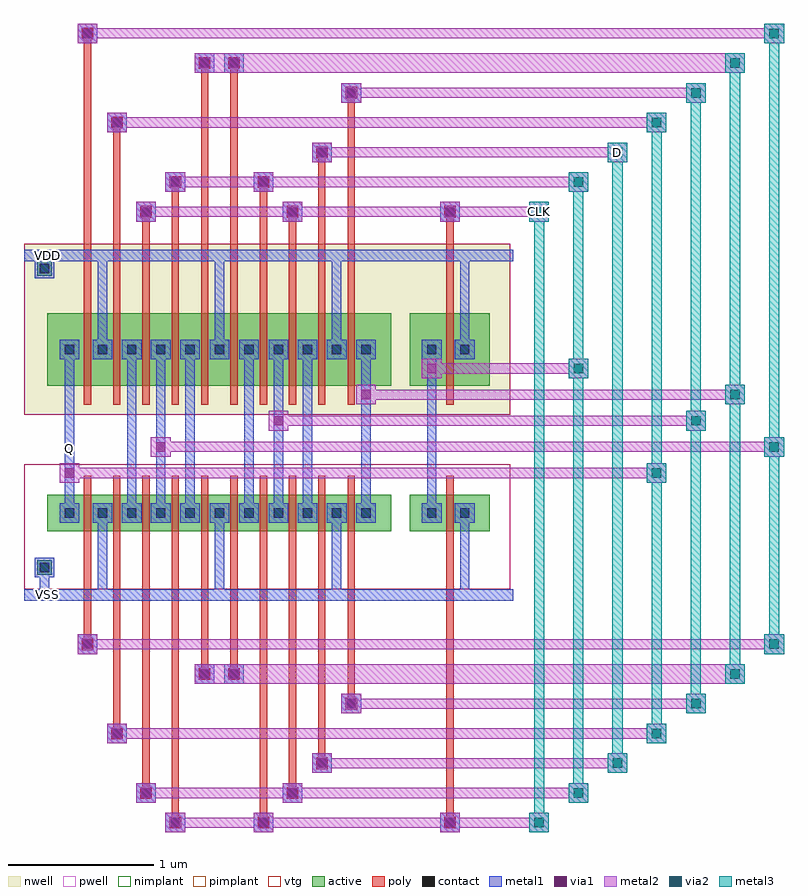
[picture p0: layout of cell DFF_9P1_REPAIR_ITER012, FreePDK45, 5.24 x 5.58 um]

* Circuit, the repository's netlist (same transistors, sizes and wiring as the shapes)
* cell DFF_9P1_REPAIR_ITER012
* pin CLK
* pin D
* pin Q
* pin VDD
* pin VSS
.SUBCKT DFF_9P1_REPAIR_ITER012 1 3 4 12 13
* net 1 CLK
* net 3 D
* net 4 Q
* net 12 VDD
* net 13 VSS
* device instance $1 r0 *1 0.4375,1.73 PMOS_VTG
M$1 12 7 4 12 PMOS_VTG L=0.05U W=0.5U AS=0.12625P AD=0.038125P PS=1.505U
+ PD=0.6525U
* device instance $2 r0 *1 0.64,1.73 PMOS_VTG
M$2 8 4 12 12 PMOS_VTG L=0.05U W=0.5U AS=0.038125P AD=0.0375P PS=0.6525U
+ PD=0.65U
* device instance $3 r0 *1 0.84,1.73 PMOS_VTG
M$3 7 1 8 12 PMOS_VTG L=0.05U W=0.5U AS=0.0375P AD=0.038125P PS=0.65U PD=0.6525U
* device instance $4 r0 *1 1.0425,1.73 PMOS_VTG
M$4 9 2 7 12 PMOS_VTG L=0.05U W=0.5U AS=0.038125P AD=0.038125P PS=0.6525U
+ PD=0.6525U
* device instance $5 r0 *1 1.245,1.73 PMOS_VTG
M$5 12 6 9 12 PMOS_VTG L=0.05U W=0.5U AS=0.038125P AD=0.038125P PS=0.6525U
+ PD=0.6525U
* device instance $6 r0 *1 1.4475,1.73 PMOS_VTG
M$6 10 6 12 12 PMOS_VTG L=0.05U W=0.5U AS=0.038125P AD=0.038125P PS=0.6525U
+ PD=0.6525U
* device instance $7 r0 *1 1.65,1.73 PMOS_VTG
M$7 5 2 10 12 PMOS_VTG L=0.05U W=0.5U AS=0.038125P AD=0.0375P PS=0.6525U
+ PD=0.65U
* device instance $8 r0 *1 1.85,1.73 PMOS_VTG
M$8 11 1 5 12 PMOS_VTG L=0.05U W=0.5U AS=0.0375P AD=0.038125P PS=0.65U
+ PD=0.6525U
* device instance $9 r0 *1 2.0525,1.73 PMOS_VTG
M$9 12 3 11 12 PMOS_VTG L=0.05U W=0.5U AS=0.038125P AD=0.038125P PS=0.6525U
+ PD=0.6525U
* device instance $10 r0 *1 2.255,1.73 PMOS_VTG
M$10 6 5 12 12 PMOS_VTG L=0.05U W=0.5U AS=0.038125P AD=0.12625P PS=0.6525U
+ PD=1.505U
* device instance $11 r0 *1 2.935,1.73 PMOS_VTG
M$11 12 1 2 12 PMOS_VTG L=0.05U W=0.5U AS=0.12625P AD=0.125P PS=1.505U PD=1.5U
* device instance $12 r0 *1 2.935,0.605 NMOS_VTG
M$12 13 1 2 13 NMOS_VTG L=0.05U W=0.25U AS=0.063125P AD=0.0625P PS=1.005U PD=1U
* device instance $13 r0 *1 0.4375,0.605 NMOS_VTG
M$13 13 7 4 13 NMOS_VTG L=0.05U W=0.25U AS=0.063125P AD=0.0190625P PS=1.005U
+ PD=0.4025U
* device instance $14 r0 *1 0.64,0.605 NMOS_VTG
M$14 8 4 13 13 NMOS_VTG L=0.05U W=0.25U AS=0.0190625P AD=0.01875P PS=0.4025U
+ PD=0.4U
* device instance $15 r0 *1 0.84,0.605 NMOS_VTG
M$15 7 2 8 13 NMOS_VTG L=0.05U W=0.25U AS=0.01875P AD=0.0190625P PS=0.4U
+ PD=0.4025U
* device instance $16 r0 *1 1.0425,0.605 NMOS_VTG
M$16 9 1 7 13 NMOS_VTG L=0.05U W=0.25U AS=0.0190625P AD=0.0190625P PS=0.4025U
+ PD=0.4025U
* device instance $17 r0 *1 1.245,0.605 NMOS_VTG
M$17 13 6 9 13 NMOS_VTG L=0.05U W=0.25U AS=0.0190625P AD=0.0190625P PS=0.4025U
+ PD=0.4025U
* device instance $18 r0 *1 1.4475,0.605 NMOS_VTG
M$18 10 6 13 13 NMOS_VTG L=0.05U W=0.25U AS=0.0190625P AD=0.0190625P PS=0.4025U
+ PD=0.4025U
* device instance $19 r0 *1 1.65,0.605 NMOS_VTG
M$19 5 1 10 13 NMOS_VTG L=0.05U W=0.25U AS=0.0190625P AD=0.01875P PS=0.4025U
+ PD=0.4U
* device instance $20 r0 *1 1.85,0.605 NMOS_VTG
M$20 11 2 5 13 NMOS_VTG L=0.05U W=0.25U AS=0.01875P AD=0.0190625P PS=0.4U
+ PD=0.4025U
* device instance $21 r0 *1 2.0525,0.605 NMOS_VTG
M$21 13 3 11 13 NMOS_VTG L=0.05U W=0.25U AS=0.0190625P AD=0.0190625P PS=0.4025U
+ PD=0.4025U
* device instance $22 r0 *1 2.255,0.605 NMOS_VTG
M$22 6 5 13 13 NMOS_VTG L=0.05U W=0.25U AS=0.0190625P AD=0.063125P PS=0.4025U
+ PD=1.005U
.ENDS DFF_9P1_REPAIR_ITER012

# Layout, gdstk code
import gdstk
lib = gdstk.Library(unit=1e-6, precision=2.5e-09)
def R(c, l, rs):  # rectangles x0, y0, x1, y1
    for r in rs: c.add(gdstk.rectangle(r[:2], r[2:], *l))
def A(c, l, x, y, w, h, nx, ny, dx, dy):  # array of equal rectangles
    R(c, l, [(x+i*dx, y+j*dy, x+i*dx+w, y+j*dy+h) for i in range(nx) for j in range(ny)])
active = (1, 0)
pwell = (2, 0)
nwell = (3, 0)
nimplant = (4, 0)
pimplant = (5, 0)
vtg = (6, 0)
poly = (9, 0)
contact = (10, 0)
metal1 = (11, 0)
via1 = (12, 0)
metal2 = (13, 0)
via2 = (14, 0)
metal3 = (15, 0)

dff_9p1_repair_iter012 = lib.new_cell('DFF_9P1_REPAIR_ITER012')
R(dff_9p1_repair_iter012, active, [(0.09,0.18,0.19,0.28), (0.16,0.48,2.5325,0.73), (2.6575,0.48,3.21,0.73), (0.16,1.48,2.5325,1.98), (2.6575,1.48,3.21,1.98), (0.09,2.24,0.19,2.34)])
R(dff_9p1_repair_iter012, pwell, [(0,0.08,3.35,0.94), (0.02,0.24,3.35,0.94)])
R(dff_9p1_repair_iter012, nwell, [(0,1.28,3.35,2.46), (0.02,1.28,3.35,2.2)])
R(dff_9p1_repair_iter012, nimplant, [(0.16,0.48,2.5325,0.73), (2.6575,0.48,3.21,0.73), (0.09,2.24,0.19,2.34)])
R(dff_9p1_repair_iter012, pimplant, [(0.09,0.18,0.19,0.28), (0.16,1.48,2.5325,1.98), (2.6575,1.48,3.21,1.98)])
R(dff_9p1_repair_iter012, vtg, [(0,0.08,3.35,0.94), (0.02,0.24,3.35,0.94), (0,1.28,3.35,2.46), (0.02,1.28,3.35,2.2)])
A(dff_9p1_repair_iter012, poly, 0.815, 0.35, 0.05, 0.51, 5, 1, 0.2025, 0)
A(dff_9p1_repair_iter012, poly, 1.825, 0.35, 0.05, 0.51, 3, 1, 0.2025, 0)
A(dff_9p1_repair_iter012, poly, 0.815, 1.35, 0.05, 0.76, 5, 1, 0.2025, 0)
A(dff_9p1_repair_iter012, poly, 1.825, 1.35, 0.05, 0.76, 3, 1, 0.2025, 0)
R(dff_9p1_repair_iter012, poly, [(1.0025,-1.57,1.0825,-1.49), (1.0175,-1.57,1.0675,0.35), (1.61,-1.57,1.69,-1.49), (1.625,-1.57,1.675,0.35), (2.895,-1.57,2.975,-1.49), (2.91,-1.57,2.96,0.35), (0.8,-1.365,0.88,-1.285), (0.815,-1.365,0.865,0.35), (1.81,-1.365,1.89,-1.285), (1.825,-1.365,1.875,0.35), (2.0125,-1.16,2.0925,-1.08), (2.0275,-1.16,2.0775,0.35), (0.6,-0.955,0.68,-0.875), (0.615,-0.955,0.665,0.35), (2.215,-0.75,2.295,-0.67), (2.23,-0.75,2.28,0.35), (1.205,-0.545,1.285,-0.465), (1.22,-0.545,1.27,0.35), (1.4075,-0.545,1.4875,-0.465), (1.4225,-0.545,1.4725,0.35), (0.3975,-0.34,0.4775,-0.26), (0.4125,-0.34,0.4625,0.35), (0.4125,0.35,0.4625,0.86), (0.615,0.35,0.665,0.86), (2.91,0.35,2.96,0.86), (0.4125,1.35,0.4625,2.11), (0.615,1.35,0.665,2.11), (2.91,1.35,2.96,2.11), (0.4125,2.11,0.4625,3.95), (0.615,2.11,0.665,3.335), (0.815,2.11,0.865,2.72), (1.0175,2.11,1.0675,2.925), (1.22,2.11,1.27,3.745), (1.4225,2.11,1.4725,3.745), (1.625,2.11,1.675,2.925), (1.825,2.11,1.875,2.72), (2.0275,2.11,2.0775,3.13), (2.23,2.11,2.28,3.54), (2.91,2.11,2.96,2.72), (0.8,2.64,0.88,2.72), (1.81,2.64,1.89,2.72), (2.895,2.64,2.975,2.72), (1.0025,2.845,1.0825,2.925), (1.61,2.845,1.69,2.925), (2.0125,3.05,2.0925,3.13), (0.6,3.255,0.68,3.335), (2.215,3.46,2.295,3.54), (1.205,3.665,1.285,3.745), (1.4075,3.665,1.4875,3.745), (0.3975,3.87,0.4775,3.95)])
A(dff_9p1_repair_iter012, contact, 0.91, 0.5725, 0.065, 0.065, 5, 2, 0.2025, 1.125)
A(dff_9p1_repair_iter012, contact, 1.92, 0.5725, 0.065, 0.065, 3, 2, 0.2025, 1.125)
R(dff_9p1_repair_iter012, contact, [(1.01,-1.5625,1.075,-1.4975), (1.6175,-1.5625,1.6825,-1.4975), (2.9025,-1.5625,2.9675,-1.4975), (0.8075,-1.3575,0.8725,-1.2925), (1.8175,-1.3575,1.8825,-1.2925), (2.02,-1.1525,2.085,-1.0875), (0.6075,-0.9475,0.6725,-0.8825), (2.2225,-0.7425,2.2875,-0.6775), (1.2125,-0.5375,1.2775,-0.4725), (1.415,-0.5375,1.48,-0.4725), (0.405,-0.3325,0.47,-0.2675), (0.1075,0.1975,0.1725,0.2625), (0.28,0.5725,0.345,0.6375), (0.5075,0.5725,0.5725,0.6375), (0.71,0.5725,0.775,0.6375), (2.7775,0.5725,2.8425,0.6375), (3.005,0.5725,3.07,0.6375), (0.28,1.6975,0.345,1.7625), (0.5075,1.6975,0.5725,1.7625), (0.71,1.6975,0.775,1.7625), (2.7775,1.6975,2.8425,1.7625), (3.005,1.6975,3.07,1.7625), (0.1075,2.2575,0.1725,2.3225), (0.8075,2.6475,0.8725,2.7125), (1.8175,2.6475,1.8825,2.7125), (2.9025,2.6475,2.9675,2.7125), (1.01,2.8525,1.075,2.9175), (1.6175,2.8525,1.6825,2.9175), (2.02,3.0575,2.085,3.1225), (0.6075,3.2625,0.6725,3.3275), (2.2225,3.4675,2.2875,3.5325), (1.2125,3.6725,1.2775,3.7375), (1.415,3.6725,1.48,3.7375), (0.405,3.8775,0.47,3.9425)])
A(dff_9p1_repair_iter012, metal1, 0.5075, 0.04, 0.065, 0.565, 3, 1, 0.8075, 0)
A(dff_9p1_repair_iter012, metal1, 0.875, 0.5375, 0.135, 0.135, 5, 2, 0.2025, 1.125)
A(dff_9p1_repair_iter012, metal1, 1.885, 0.5375, 0.135, 0.135, 3, 2, 0.2025, 1.125)
A(dff_9p1_repair_iter012, metal1, 0.5075, 1.73, 0.065, 0.65, 3, 1, 0.8075, 0)
R(dff_9p1_repair_iter012, metal1, [(0.975,-1.5975,1.11,-1.4625), (1.5825,-1.5975,1.7175,-1.4625), (2.8675,-1.5975,3.0025,-1.4625), (0.7725,-1.3925,0.9075,-1.2575), (1.7825,-1.3925,1.9175,-1.2575), (1.985,-1.1875,2.12,-1.0525), (0.5725,-0.9825,0.7075,-0.8475), (2.1875,-0.7775,2.3225,-0.6425), (1.1775,-0.5725,1.3125,-0.4375), (1.38,-0.5725,1.515,-0.4375), (0.37,-0.3675,0.505,-0.2325), (0,0,3.37,0.08), (0.1075,0.04,0.1725,0.23), (3.005,0.04,3.07,0.605), (0.0725,0.1625,0.2075,0.2975), (0.245,0.5375,0.38,0.6725), (0.4725,0.5375,0.6075,0.6725), (0.675,0.5375,0.81,0.6725), (2.7425,0.5375,2.8775,0.6725), (2.97,0.5375,3.105,0.6725), (0.28,0.605,0.345,1.73), (0.71,0.605,0.775,1.73), (0.91,0.605,0.975,1.73), (1.1125,0.605,1.1775,1.73), (1.5175,0.605,1.5825,1.73), (1.72,0.605,1.785,1.73), (1.92,0.605,1.985,1.73), (2.325,0.605,2.39,1.73), (2.7775,0.605,2.8425,1.73), (0.245,1.6625,0.38,1.7975), (0.4725,1.6625,0.6075,1.7975), (0.675,1.6625,0.81,1.7975), (2.7425,1.6625,2.8775,1.7975), (2.97,1.6625,3.105,1.7975), (3.005,1.73,3.07,2.38), (0.0725,2.2225,0.2075,2.3575), (0.1075,2.29,0.1725,2.38), (0,2.34,3.37,2.42), (0.7725,2.6125,0.9075,2.7475), (1.7825,2.6125,1.9175,2.7475), (2.8675,2.6125,3.0025,2.7475), (0.975,2.8175,1.11,2.9525), (1.5825,2.8175,1.7175,2.9525), (1.985,3.0225,2.12,3.1575), (0.5725,3.2275,0.7075,3.3625), (2.1875,3.4325,2.3225,3.5675), (1.1775,3.6375,1.3125,3.7725), (1.38,3.6375,1.515,3.7725), (0.37,3.8425,0.505,3.9775)])
R(dff_9p1_repair_iter012, via1, [(1.01,-1.5625,1.075,-1.4975), (1.6175,-1.5625,1.6825,-1.4975), (2.9025,-1.5625,2.9675,-1.4975), (0.8075,-1.3575,0.8725,-1.2925), (1.8175,-1.3575,1.8825,-1.2925), (2.02,-1.1525,2.085,-1.0875), (0.6075,-0.9475,0.6725,-0.8825), (2.2225,-0.7425,2.2875,-0.6775), (1.2125,-0.5375,1.2775,-0.4725), (1.415,-0.5375,1.48,-0.4725), (0.405,-0.3325,0.47,-0.2675), (0.28,0.8475,0.345,0.9125), (0.91,1.0275,0.975,1.0925), (1.72,1.2075,1.785,1.2725), (2.325,1.3875,2.39,1.4525), (2.7775,1.5675,2.8425,1.6325), (0.8075,2.6475,0.8725,2.7125), (1.8175,2.6475,1.8825,2.7125), (2.9025,2.6475,2.9675,2.7125), (1.01,2.8525,1.075,2.9175), (1.6175,2.8525,1.6825,2.9175), (2.02,3.0575,2.085,3.1225), (0.6075,3.2625,0.6725,3.3275), (2.2225,3.4675,2.2875,3.5325), (1.2125,3.6725,1.2775,3.7375), (1.415,3.6725,1.48,3.7375), (0.405,3.8775,0.47,3.9425)])
R(dff_9p1_repair_iter012, metal2, [(0.975,-1.5975,1.11,-1.4625), (1.5825,-1.5975,1.7175,-1.4625), (2.8675,-1.5975,3.0025,-1.4625), (3.4825,-1.5975,3.6175,-1.4625), (3.4825,-1.5975,3.6175,-1.4625), (3.4825,-1.5975,3.6175,-1.4625), (1.0075,-1.565,3.585,-1.495), (1.615,-1.565,3.585,-1.495), (2.9,-1.565,3.585,-1.495), (0.7725,-1.3925,0.9075,-1.2575), (1.7825,-1.3925,1.9175,-1.2575), (3.7525,-1.3925,3.8875,-1.2575), (3.7525,-1.3925,3.8875,-1.2575), (0.805,-1.36,3.855,-1.29), (1.815,-1.36,3.855,-1.29), (1.985,-1.1875,2.12,-1.0525), (4.0225,-1.1875,4.1575,-1.0525), (2.0175,-1.155,4.125,-1.085), (0.5725,-0.9825,0.7075,-0.8475), (4.2925,-0.9825,4.4275,-0.8475), (0.605,-0.95,4.395,-0.88), (2.1875,-0.7775,2.3225,-0.6425), (4.5625,-0.7775,4.6975,-0.6425), (2.22,-0.745,4.665,-0.675), (1.1775,-0.5725,1.3125,-0.4375), (1.1775,-0.5725,4.9675,-0.4375), (1.38,-0.5725,1.515,-0.4375), (4.8325,-0.5725,4.9675,-0.4375), (4.8325,-0.5725,4.9675,-0.4375), (1.21,-0.54,4.935,-0.47), (1.4125,-0.54,4.935,-0.47), (0.37,-0.3675,0.505,-0.2325), (5.1025,-0.3675,5.2375,-0.2325), (0.4025,-0.335,5.205,-0.265), (0.245,0.8125,0.38,0.9475), (4.2925,0.8125,4.4275,0.9475), (0.2775,0.845,4.395,0.915), (0.875,0.9925,1.01,1.1275), (5.1025,0.9925,5.2375,1.1275), (0.9075,1.025,5.205,1.095), (1.685,1.1725,1.82,1.3075), (4.5625,1.1725,4.6975,1.3075), (1.7175,1.205,4.665,1.275), (2.29,1.3525,2.425,1.4875), (4.8325,1.3525,4.9675,1.4875), (2.3225,1.385,4.935,1.455), (2.7425,1.5325,2.8775,1.6675), (3.7525,1.5325,3.8875,1.6675), (2.775,1.565,3.855,1.635), (0.7725,2.6125,0.9075,2.7475), (1.7825,2.6125,1.9175,2.7475), (2.8675,2.6125,3.0025,2.7475), (3.4825,2.6125,3.6175,2.7475), (3.4825,2.6125,3.6175,2.7475), (3.4825,2.6125,3.6175,2.7475), (0.805,2.645,3.585,2.715), (1.815,2.645,3.585,2.715), (2.9,2.645,3.585,2.715), (0.975,2.8175,1.11,2.9525), (1.5825,2.8175,1.7175,2.9525), (3.7525,2.8175,3.8875,2.9525), (3.7525,2.8175,3.8875,2.9525), (1.0075,2.85,3.855,2.92), (1.615,2.85,3.855,2.92), (1.985,3.0225,2.12,3.1575), (4.0225,3.0225,4.1575,3.1575), (2.0175,3.055,4.125,3.125), (0.5725,3.2275,0.7075,3.3625), (4.2925,3.2275,4.4275,3.3625), (0.605,3.26,4.395,3.33), (2.1875,3.4325,2.3225,3.5675), (4.5625,3.4325,4.6975,3.5675), (2.22,3.465,4.665,3.535), (1.1775,3.6375,1.3125,3.7725), (1.1775,3.6375,4.9675,3.7725), (1.38,3.6375,1.515,3.7725), (4.8325,3.6375,4.9675,3.7725), (4.8325,3.6375,4.9675,3.7725), (1.21,3.67,4.935,3.74), (1.4125,3.67,4.935,3.74), (0.37,3.8425,0.505,3.9775), (5.1025,3.8425,5.2375,3.9775), (0.4025,3.875,5.205,3.945)])
R(dff_9p1_repair_iter012, via2, [(3.5175,-1.5625,3.5825,-1.4975), (3.5175,-1.5625,3.5825,-1.4975), (3.5175,-1.5625,3.5825,-1.4975), (3.7875,-1.3575,3.8525,-1.2925), (3.7875,-1.3575,3.8525,-1.2925), (4.0575,-1.1525,4.1225,-1.0875), (4.3275,-0.9475,4.3925,-0.8825), (4.5975,-0.7425,4.6625,-0.6775), (4.8675,-0.5375,4.9325,-0.4725), (4.8675,-0.5375,4.9325,-0.4725), (5.1375,-0.3325,5.2025,-0.2675), (4.3275,0.8475,4.3925,0.9125), (5.1375,1.0275,5.2025,1.0925), (4.5975,1.2075,4.6625,1.2725), (4.8675,1.3875,4.9325,1.4525), (3.7875,1.5675,3.8525,1.6325), (3.5175,2.6475,3.5825,2.7125), (3.5175,2.6475,3.5825,2.7125), (3.5175,2.6475,3.5825,2.7125), (3.7875,2.8525,3.8525,2.9175), (3.7875,2.8525,3.8525,2.9175), (4.0575,3.0575,4.1225,3.1225), (4.3275,3.2625,4.3925,3.3275), (4.5975,3.4675,4.6625,3.5325), (4.8675,3.6725,4.9325,3.7375), (4.8675,3.6725,4.9325,3.7375), (5.1375,3.8775,5.2025,3.9425)])
R(dff_9p1_repair_iter012, metal3, [(3.4825,-1.5975,3.6175,-1.4625), (3.4825,-1.5975,3.6175,-1.4625), (3.4825,-1.5975,3.6175,-1.4625), (3.515,-1.565,3.585,2.715), (3.7525,-1.3925,3.8875,-1.2575), (3.7525,-1.3925,3.8875,-1.2575), (3.785,-1.36,3.855,2.92), (4.0225,-1.1875,4.1575,-1.0525), (4.055,-1.155,4.125,3.125), (4.2925,-0.9825,4.4275,-0.8475), (4.325,-0.95,4.395,3.33), (4.5625,-0.7775,4.6975,-0.6425), (4.595,-0.745,4.665,3.535), (4.8325,-0.5725,4.9675,-0.4375), (4.8325,-0.5725,4.9675,-0.4375), (4.865,-0.54,4.935,3.74), (5.1025,-0.3675,5.2375,-0.2325), (5.135,-0.335,5.205,3.945), (4.2925,0.8125,4.4275,0.9475), (5.1025,0.9925,5.2375,1.1275), (4.5625,1.1725,4.6975,1.3075), (4.8325,1.3525,4.9675,1.4875), (3.7525,1.5325,3.8875,1.6675), (3.4825,2.6125,3.6175,2.7475), (3.4825,2.6125,3.6175,2.7475), (3.4825,2.6125,3.6175,2.7475), (3.7525,2.8175,3.8875,2.9525), (3.7525,2.8175,3.8875,2.9525), (4.0225,3.0225,4.1575,3.1575), (4.2925,3.2275,4.4275,3.3625), (4.5625,3.4325,4.6975,3.5675), (4.8325,3.6375,4.9675,3.7725), (4.8325,3.6375,4.9675,3.7725), (5.1025,3.8425,5.2375,3.9775)])
dff_9p1_repair_iter012.add(gdstk.Label('VDD', (0.16,2.38), layer=11, texttype=0))
dff_9p1_repair_iter012.add(gdstk.Label('VSS', (0.16,0.04), layer=11, texttype=0))
dff_9p1_repair_iter012.add(gdstk.Label('Q', (0.3125,1.05), layer=11, texttype=0))
dff_9p1_repair_iter012.add(gdstk.Label('CLK', (3.55,2.68), layer=15, texttype=0))
dff_9p1_repair_iter012.add(gdstk.Label('D', (4.09,3.09), layer=15, texttype=0))

lib.write_gds('DFF_9P1_REPAIR_ITER012.gds')
